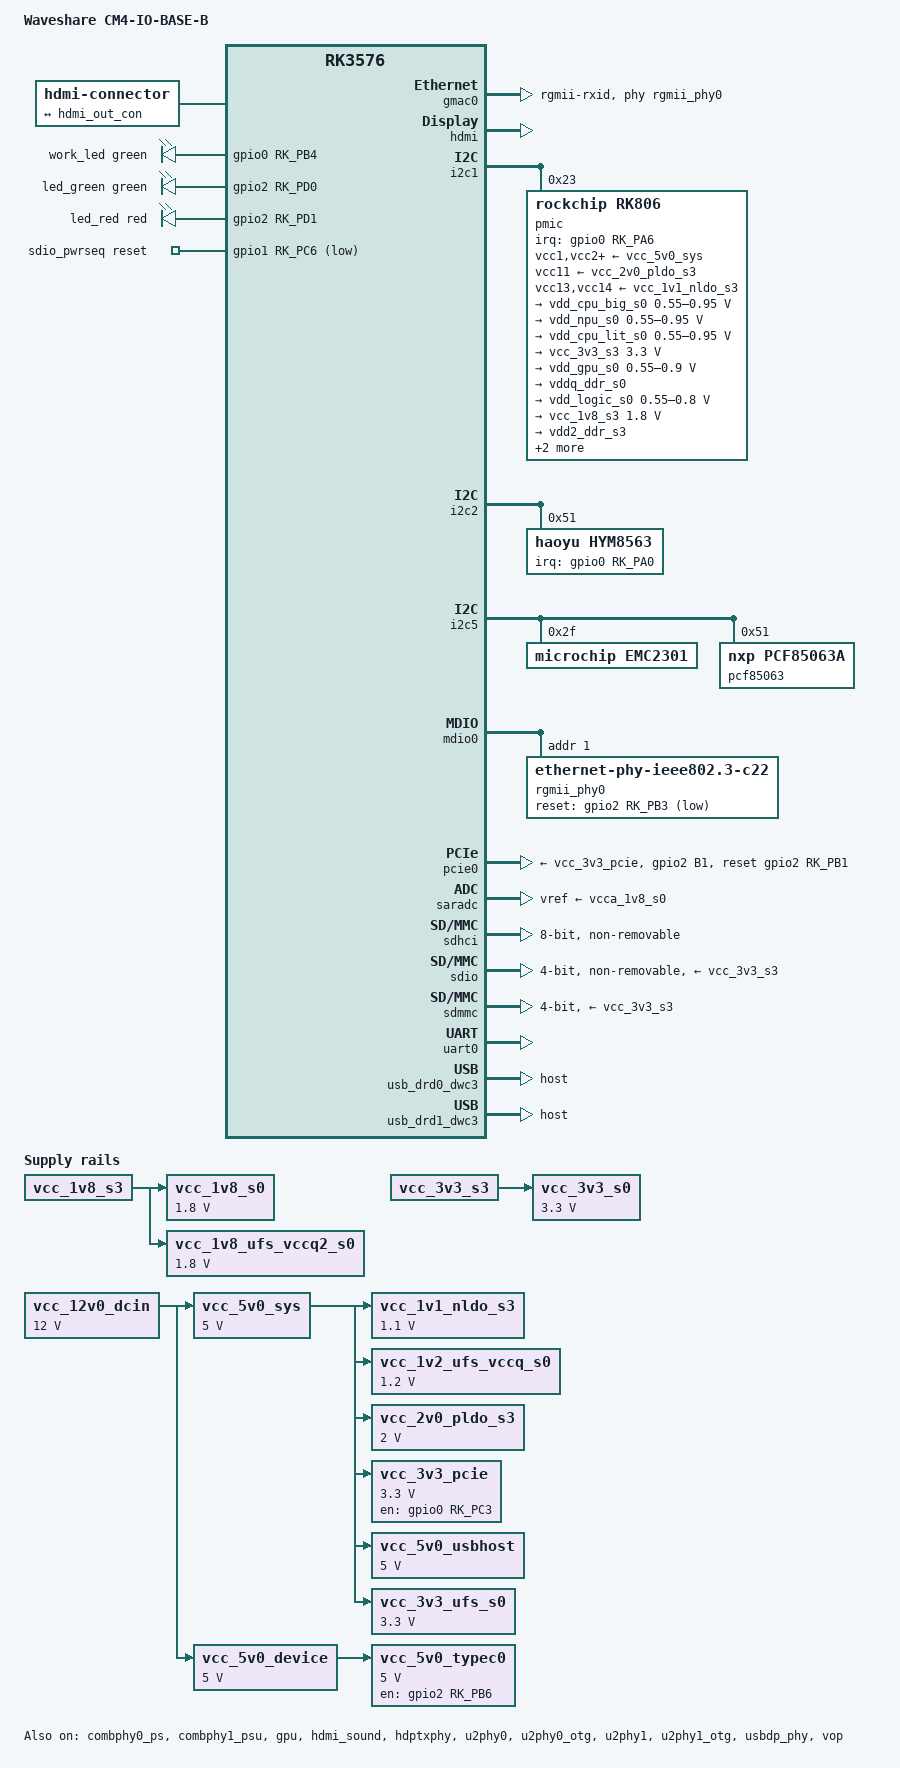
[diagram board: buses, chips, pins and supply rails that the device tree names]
// SPDX-License-Identifier: (GPL-2.0+ OR MIT)
/*
 * ArmSoM CM5-IO board — mainline-style DTS for EDK2/UEFI boot
 *
 * The ArmSoM CM5 is a Raspberry Pi CM4-form-factor compute module built on
 * the Rockchip RK3576 SoC (4×Cortex-A72 + 4×Cortex-A53, same silicon as
 * Radxa ROCK 4D).  This DTS targets the official CM5-IO carrier board.
 *
 * CM5-IO carrier provides:
 *   - Full-size HDMI 2.1 (via HDMI TX)
 *   - Gigabit Ethernet (GMAC0, RTL8211F, rgmii-rxid)
 *   - 2× USB-A (USB 3.0/2.0)
 *   - USB-C (OTG / SuperSpeed via USBDP PHY)
 *   - M.2 PCIe 2.0 ×1 slot
 *   - MicroSD card slot
 *   - 40-pin RPi-compatible GPIO header
 *   - 12 V DC barrel jack
 *
 * CM5 module provides:
 *   - Onboard eMMC (SDHCI)
 *   - SYN43752 (WiFi 6 + BT 5.x) via SDIO / UART4
 *   - RK806 PMIC on I2C1
 *   - HYM8563 RTC on I2C2
 *
 * GPIO verification source:
 *   ArmSoM rockchip-kernel (branch linux-6.1-stan-rkr6.1):
 *     arch/arm64/boot/dts/rockchip/rk3576-armsom-cm5.dtsi
 *     arch/arm64/boot/dts/rockchip/rk3576-armsom-cm5-waveshare-cm4b.dts
 *     arch/arm64/boot/dts/rockchip/rk3576-rk806.dtsi
 *
 * Differences vs upstream rk3576-armsom-sige5.dts (same vendor):
 *   - No GMAC1 (CM5-IO is single-port GbE)
 *   - GMAC0 PHY reset:  GPIO2 PB3  (sige5: GPIO2 PB5)
 *   - GMAC0 mode:       rgmii-rxid, tx_delay=0x21 (sige5: rgmii-id)
 *   - PCIe power GPIO:  GPIO0 PC3  (sige5: GPIO3 PD6)
 *   - PCIe reset GPIO:  GPIO2 PB1  (sige5: GPIO2 PB4)
 *   - USB HOST 5V GPIO: GPIO4 PB0  (sige5: GPIO4 PA4)
 *   - USB OTG  5V GPIO: GPIO2 PB6  (sige5: GPIO4 PA6)
 *   - Work LED:         GPIO0 PB4  (sige5: GPIO4 PB1/PB2)
 *
 * Copyright (c) 2024, ArmSoM
 * Copyright (c) 2025, ArmSoM CM5-IO EDK2 Port
 */

/dts-v1/;

#include <dt-bindings/gpio/gpio.h>
#include <dt-bindings/leds/common.h>
#include <dt-bindings/pinctrl/rockchip.h>
#include <dt-bindings/pwm/pwm.h>
#include <dt-bindings/soc/rockchip,vop2.h>
#include <dt-bindings/usb/pd.h>
#include "rk3576.dtsi"

/ {
	model = "Waveshare CM4-IO-BASE-B";
	compatible = "waveshare,cm4-io-base-b", "armsom,cm5", "rockchip,rk3576";

	aliases {
		ethernet0 = &gmac0;
		mmc0 = &sdhci;
		mmc1 = &sdmmc;
	};

	chosen {
		stdout-path = "serial0:1500000n8";
	};

	/*
	 * HDMI connector: full-size Type A on CM5-IO carrier board.
	 * Connected to HDMI TX (hdmi: hdmi@27da0000) via HDPTX PHY.
	 */
	hdmi-con {
		compatible = "hdmi-connector";
		type = "a";

		port {
			hdmi_con_in: endpoint {
				remote-endpoint = <&hdmi_out_con>;
			};
		};
	};

	/*
	 * LEDs on the CM5-IO carrier board (verified from schematic
	 * ARMSOM-CM5-IO-1V1_20240829.DSN):
	 *
	 *  work-led  (module, GPIO0 PB4):  on CM5 module itself, active-high.
	 *                                   BSP net: no explicit carrier net.
	 *  led-green (carrier, GPIO2 PD0):  net "LED_GREEN_EN / UART4_TX_M0 /
	 *                                   I2C6_SCL_M2" — green status LED
	 *                                   on CM5-IO board.
	 *  led-red   (carrier, GPIO2 PD1):  net "LED_RED_EN / UART4_RX_M0 /
	 *                                   I2C6_SDA_M2" — red status LED
	 *                                   on CM5-IO board.
	 */
	leds: leds {
		compatible = "gpio-leds";

		work_led: work-led {
			color = <LED_COLOR_ID_GREEN>;
			function = LED_FUNCTION_ACTIVITY;
			gpios = <&gpio0 RK_PB4 GPIO_ACTIVE_HIGH>;
			linux,default-trigger = "heartbeat";
		};

		led_green: led-green {
			color = <LED_COLOR_ID_GREEN>;
			function = LED_FUNCTION_STATUS;
			gpios = <&gpio2 RK_PD0 GPIO_ACTIVE_HIGH>;
			pinctrl-names = "default";
			pinctrl-0 = <&led_green_en>;
			default-state = "on";
		};

		led_red: led-red {
			color = <LED_COLOR_ID_RED>;
			function = LED_FUNCTION_FAULT;
			gpios = <&gpio2 RK_PD1 GPIO_ACTIVE_HIGH>;
			pinctrl-names = "default";
			pinctrl-0 = <&led_red_en>;
			default-state = "off";
		};
	};

	/*
	 * Power domain: 12 V DC input from barrel jack on CM5-IO carrier.
	 */
	vcc_12v0_dcin: regulator-vcc-12v0-dcin {
		compatible = "regulator-fixed";
		regulator-name = "vcc_12v0_dcin";
		regulator-always-on;
		regulator-boot-on;
		regulator-min-microvolt = <12000000>;
		regulator-max-microvolt = <12000000>;
	};

	vcc_1v1_nldo_s3: regulator-vcc-1v1-nldo-s3 {
		compatible = "regulator-fixed";
		regulator-name = "vcc_1v1_nldo_s3";
		regulator-boot-on;
		regulator-always-on;
		regulator-min-microvolt = <1100000>;
		regulator-max-microvolt = <1100000>;
		vin-supply = <&vcc_5v0_sys>;
	};

	vcc_1v2_ufs_vccq_s0: regulator-vcc-1v2-ufs-vccq-s0 {
		compatible = "regulator-fixed";
		regulator-name = "vcc_1v2_ufs_vccq_s0";
		regulator-boot-on;
		regulator-always-on;
		regulator-min-microvolt = <1200000>;
		regulator-max-microvolt = <1200000>;
		vin-supply = <&vcc_5v0_sys>;
	};

	vcc_1v8_s0: regulator-vcc-1v8-s0 {
		compatible = "regulator-fixed";
		regulator-name = "vcc_1v8_s0";
		regulator-boot-on;
		regulator-always-on;
		regulator-min-microvolt = <1800000>;
		regulator-max-microvolt = <1800000>;
		vin-supply = <&vcc_1v8_s3>;
	};

	vcc_1v8_ufs_vccq2_s0: regulator-vcc-1v8-ufs-vccq2-s0 {
		compatible = "regulator-fixed";
		regulator-name = "vcc_1v8_ufs_vccq2_s0";
		regulator-boot-on;
		regulator-always-on;
		regulator-min-microvolt = <1800000>;
		regulator-max-microvolt = <1800000>;
		vin-supply = <&vcc_1v8_s3>;
	};

	vcc_2v0_pldo_s3: regulator-vcc-2v0-pldo-s3 {
		compatible = "regulator-fixed";
		regulator-name = "vcc_2v0_pldo_s3";
		regulator-boot-on;
		regulator-always-on;
		regulator-min-microvolt = <2000000>;
		regulator-max-microvolt = <2000000>;
		vin-supply = <&vcc_5v0_sys>;
	};

	/*
	 * PCIe 3.3 V supply: gated by GPIO0 PC3 (active-high).
	 * Supplies the M.2 PCIe slot on the CM5-IO carrier board.
	 * (rk3576-armsom-cm5-io.dts: vcc3v3_pcie_m2 GPIO0 PC3 active-high)
	 */
	vcc_3v3_pcie: regulator-vcc-3v3-pcie {
		compatible = "regulator-fixed";
		pinctrl-names = "default";
		pinctrl-0 = <&pcie_pwr_en>;
		regulator-name = "vcc_3v3_pcie";
		regulator-min-microvolt = <3300000>;
		regulator-max-microvolt = <3300000>;
		enable-active-high;
		gpio = <&gpio0 RK_PC3 GPIO_ACTIVE_HIGH>;
		startup-delay-us = <5000>;
		vin-supply = <&vcc_5v0_sys>;
	};

	vcc_3v3_s0: regulator-vcc-3v3-s0 {
		compatible = "regulator-fixed";
		regulator-name = "vcc_3v3_s0";
		regulator-boot-on;
		regulator-always-on;
		regulator-min-microvolt = <3300000>;
		regulator-max-microvolt = <3300000>;
		vin-supply = <&vcc_3v3_s3>;
	};

	vcc_5v0_sys: regulator-vcc-5v0-sys {
		compatible = "regulator-fixed";
		regulator-name = "vcc_5v0_sys";
		regulator-always-on;
		regulator-boot-on;
		regulator-min-microvolt = <5000000>;
		regulator-max-microvolt = <5000000>;
		vin-supply = <&vcc_12v0_dcin>;
	};

	vcc_5v0_device: regulator-vcc-5v0-device {
		compatible = "regulator-fixed";
		regulator-name = "vcc_5v0_device";
		regulator-always-on;
		regulator-boot-on;
		regulator-min-microvolt = <5000000>;
		regulator-max-microvolt = <5000000>;
		vin-supply = <&vcc_12v0_dcin>;
	};

	/*
	 * USB OTG / Type-C 5 V supply: gated by GPIO2 PB6 (active-high).
	 * (rk3576-armsom-cm5-io.dts: vcc5v0_otg GPIO2 PB6 active-high)
	 */
	vcc_5v0_typec0: regulator-vcc-5v0-typec0 {
		compatible = "regulator-fixed";
		enable-active-high;
		gpios = <&gpio2 RK_PB6 GPIO_ACTIVE_HIGH>;
		pinctrl-names = "default";
		pinctrl-0 = <&usb_otg0_pwren>;
		regulator-name = "vcc_5v0_typec0";
		regulator-min-microvolt = <5000000>;
		regulator-max-microvolt = <5000000>;
		vin-supply = <&vcc_5v0_device>;
	};

	/*
	 * USB HOST 5 V supply: gated by GPIO4 PB0 (active-high).
	 * Powers the USB-A ports on CM4-IO carrier board (always-on).
	 */
	vcc_5v0_usbhost: regulator-vcc-5v0-usbhost {
		compatible = "regulator-fixed";
		regulator-name = "vcc_5v0_usbhost";
		regulator-always-on;
		regulator-boot-on;
		regulator-min-microvolt = <5000000>;
		regulator-max-microvolt = <5000000>;
		vin-supply = <&vcc_5v0_sys>;
	};

	vcc_3v3_ufs_s0: regulator-vcc-ufs-s0 {
		compatible = "regulator-fixed";
		regulator-name = "vcc_3v3_ufs_s0";
		regulator-boot-on;
		regulator-always-on;
		regulator-min-microvolt = <3300000>;
		regulator-max-microvolt = <3300000>;
		vin-supply = <&vcc_5v0_sys>;
	};

	/*
	 * WiFi power sequencer for SYN43752 (on CM5 module).
	 * Reset GPIO: GPIO1 PC6 active-low.
	 * (rk3576-armsom-cm5.dtsi: mmc-pwrseq reset-gpios GPIO1 PC6 AL)
	 * Clock from HYM8563 external RTC oscillator.
	 */
	sdio_pwrseq: sdio-pwrseq {
		compatible = "mmc-pwrseq-simple";
		clocks = <&hym8563>;
		clock-names = "ext_clock";
		pinctrl-names = "default";
		pinctrl-0 = <&wifi_reg_on>;
		reset-gpios = <&gpio1 RK_PC6 GPIO_ACTIVE_LOW>;
	};
};

/*
 * ComboPHY0 → PCIe lane (M.2 slot on CM5-IO).
 * ComboPHY1 → USB3 lane (USB-A on CM5-IO via usb_drd1_dwc3).
 */
&combphy0_ps {
	status = "okay";
};

&combphy1_psu {
	status = "okay";
};

&cpu_b0 {
	cpu-supply = <&vdd_cpu_big_s0>;
};

&cpu_b1 {
	cpu-supply = <&vdd_cpu_big_s0>;
};

&cpu_b2 {
	cpu-supply = <&vdd_cpu_big_s0>;
};

&cpu_b3 {
	cpu-supply = <&vdd_cpu_big_s0>;
};

&cpu_l0 {
	cpu-supply = <&vdd_cpu_lit_s0>;
};

&cpu_l1 {
	cpu-supply = <&vdd_cpu_lit_s0>;
};

&cpu_l2 {
	cpu-supply = <&vdd_cpu_lit_s0>;
};

&cpu_l3 {
	cpu-supply = <&vdd_cpu_lit_s0>;
};

/*
 * GMAC0: RTL8211F GbE in rgmii-rxid mode.
 * PHY delay: MAC side TX delay = 0x21 (board trace compensation),
 *             PHY handles RX delay internally.
 * PHY reset: GPIO2 PB3 active-low.
 *
 * Differences from sige5: rxid mode (not id), GPIO2 PB3 reset (not PB5).
 */
&gmac0 {
	phy-mode = "rgmii-rxid";
	clock_in_out = "output";
	tx_delay = <0x21>;
	rx_delay = <0x00>;
	phy-handle = <&rgmii_phy0>;
	pinctrl-names = "default";
	pinctrl-0 = <&eth0m0_miim
		     &eth0m0_tx_bus2
		     &eth0m0_rx_bus2
		     &eth0m0_rgmii_clk
		     &eth0m0_rgmii_bus>;
	status = "okay";
};

&gpu {
	mali-supply = <&vdd_gpu_s0>;
	status = "okay";
};

&hdmi {
	status = "okay";
};

&hdmi_in {
	hdmi_in_vp0: endpoint {
		remote-endpoint = <&vp0_out_hdmi>;
	};
};

&hdmi_out {
	hdmi_out_con: endpoint {
		remote-endpoint = <&hdmi_con_in>;
	};
};

&hdmi_sound {
	status = "okay";
};

&hdptxphy {
	status = "okay";
};

/*
 * I2C1: RK806 PMIC @ 0x23 (interrupt on GPIO0 PA6).
 * Pinctrl: i2c1m0 — GPIO0 PB2 (SCL) / GPIO0 PB3 (SDA), function 11.
 */
&i2c1 {
	status = "okay";

	pmic@23 {
		compatible = "rockchip,rk806";
		reg = <0x23>;

		interrupt-parent = <&gpio0>;
		interrupts = <RK_PA6 IRQ_TYPE_LEVEL_LOW>;

		pinctrl-names = "default";
		pinctrl-0 = <&pmic_pins>, <&rk806_dvs1_null>,
			    <&rk806_dvs2_null>, <&rk806_dvs3_null>;

		system-power-controller;

		vcc1-supply = <&vcc_5v0_sys>;
		vcc2-supply = <&vcc_5v0_sys>;
		vcc3-supply = <&vcc_5v0_sys>;
		vcc4-supply = <&vcc_5v0_sys>;
		vcc5-supply = <&vcc_5v0_sys>;
		vcc6-supply = <&vcc_5v0_sys>;
		vcc7-supply = <&vcc_5v0_sys>;
		vcc8-supply = <&vcc_5v0_sys>;
		vcc9-supply = <&vcc_5v0_sys>;
		vcc10-supply = <&vcc_5v0_sys>;
		vcc11-supply = <&vcc_2v0_pldo_s3>;
		vcc12-supply = <&vcc_5v0_sys>;
		vcc13-supply = <&vcc_1v1_nldo_s3>;
		vcc14-supply = <&vcc_1v1_nldo_s3>;
		vcca-supply = <&vcc_5v0_sys>;

		gpio-controller;
		#gpio-cells = <2>;

		rk806_dvs1_null: dvs1-null-pins {
			pins = "gpio_pwrctrl1";
			function = "pin_fun0";
		};

		rk806_dvs2_null: dvs2-null-pins {
			pins = "gpio_pwrctrl2";
			function = "pin_fun0";
		};

		rk806_dvs3_null: dvs3-null-pins {
			pins = "gpio_pwrctrl3";
			function = "pin_fun0";
		};

		regulators {
			vdd_cpu_big_s0: dcdc-reg1 {
				regulator-always-on;
				regulator-boot-on;
				regulator-min-microvolt = <550000>;
				regulator-max-microvolt = <950000>;
				regulator-ramp-delay = <12500>;
				regulator-name = "vdd_cpu_big_s0";
				regulator-enable-ramp-delay = <400>;
				regulator-state-mem {
					regulator-off-in-suspend;
				};
			};

			vdd_npu_s0: dcdc-reg2 {
				regulator-boot-on;
				regulator-min-microvolt = <550000>;
				regulator-max-microvolt = <950000>;
				regulator-ramp-delay = <12500>;
				regulator-name = "vdd_npu_s0";
				regulator-enable-ramp-delay = <400>;
				regulator-state-mem {
					regulator-off-in-suspend;
				};
			};

			vdd_cpu_lit_s0: dcdc-reg3 {
				regulator-always-on;
				regulator-boot-on;
				regulator-min-microvolt = <550000>;
				regulator-max-microvolt = <950000>;
				regulator-ramp-delay = <12500>;
				regulator-name = "vdd_cpu_lit_s0";
				regulator-state-mem {
					regulator-off-in-suspend;
					regulator-suspend-microvolt = <750000>;
				};
			};

			vcc_3v3_s3: dcdc-reg4 {
				regulator-always-on;
				regulator-boot-on;
				regulator-min-microvolt = <3300000>;
				regulator-max-microvolt = <3300000>;
				regulator-name = "vcc_3v3_s3";
				regulator-state-mem {
					regulator-on-in-suspend;
					regulator-suspend-microvolt = <3300000>;
				};
			};

			vdd_gpu_s0: dcdc-reg5 {
				regulator-boot-on;
				regulator-min-microvolt = <550000>;
				regulator-max-microvolt = <900000>;
				regulator-ramp-delay = <12500>;
				regulator-name = "vdd_gpu_s0";
				regulator-enable-ramp-delay = <400>;
				regulator-state-mem {
					regulator-off-in-suspend;
					regulator-suspend-microvolt = <850000>;
				};
			};

			vddq_ddr_s0: dcdc-reg6 {
				regulator-always-on;
				regulator-boot-on;
				regulator-name = "vddq_ddr_s0";
				regulator-state-mem {
					regulator-off-in-suspend;
				};
			};

			vdd_logic_s0: dcdc-reg7 {
				regulator-always-on;
				regulator-boot-on;
				regulator-min-microvolt = <550000>;
				regulator-max-microvolt = <800000>;
				regulator-name = "vdd_logic_s0";
				regulator-state-mem {
					regulator-off-in-suspend;
				};
			};

			vcc_1v8_s3: dcdc-reg8 {
				regulator-always-on;
				regulator-boot-on;
				regulator-min-microvolt = <1800000>;
				regulator-max-microvolt = <1800000>;
				regulator-name = "vcc_1v8_s3";
				regulator-state-mem {
					regulator-on-in-suspend;
					regulator-suspend-microvolt = <1800000>;
				};
			};

			vdd2_ddr_s3: dcdc-reg9 {
				regulator-always-on;
				regulator-boot-on;
				regulator-name = "vdd2_ddr_s3";
				regulator-state-mem {
					regulator-on-in-suspend;
				};
			};

			vdd_ddr_s0: dcdc-reg10 {
				regulator-always-on;
				regulator-boot-on;
				regulator-min-microvolt = <550000>;
				regulator-max-microvolt = <1200000>;
				regulator-name = "vdd_ddr_s0";
				regulator-state-mem {
					regulator-off-in-suspend;
				};
			};

			vcca_1v8_s0: pldo-reg1 {
				regulator-always-on;
				regulator-boot-on;
				regulator-min-microvolt = <1800000>;
				regulator-max-microvolt = <1800000>;
				regulator-name = "vcca_1v8_s0";
				regulator-state-mem {
					regulator-off-in-suspend;
				};
			};

			vcca1v8_pldo2_s0: pldo-reg2 {
				regulator-always-on;
				regulator-boot-on;
				regulator-min-microvolt = <1800000>;
				regulator-max-microvolt = <1800000>;
				regulator-name = "vcca1v8_pldo2_s0";
				regulator-state-mem {
					regulator-off-in-suspend;
				};
			};

			vdda_1v2_s0: pldo-reg3 {
				regulator-always-on;
				regulator-boot-on;
				regulator-min-microvolt = <1200000>;
				regulator-max-microvolt = <1200000>;
				regulator-name = "vdda_1v2_s0";
				regulator-state-mem {
					regulator-off-in-suspend;
				};
			};

			vcca_3v3_s0: pldo-reg4 {
				regulator-always-on;
				regulator-boot-on;
				regulator-min-microvolt = <3300000>;
				regulator-max-microvolt = <3300000>;
				regulator-name = "vcca_3v3_s0";
				regulator-state-mem {
					regulator-off-in-suspend;
				};
			};

			vccio_sd_s0: pldo-reg5 {
				regulator-always-on;
				regulator-boot-on;
				regulator-min-microvolt = <1800000>;
				regulator-max-microvolt = <3300000>;
				regulator-name = "vccio_sd_s0";
				regulator-state-mem {
					regulator-off-in-suspend;
				};
			};

			vcca1v8_pldo6_s3: pldo-reg6 {
				regulator-always-on;
				regulator-boot-on;
				regulator-min-microvolt = <1800000>;
				regulator-max-microvolt = <1800000>;
				regulator-name = "vcca1v8_pldo6_s3";
				regulator-state-mem {
					regulator-on-in-suspend;
					regulator-suspend-microvolt = <1800000>;
				};
			};

			vdd_0v75_s3: nldo-reg1 {
				regulator-always-on;
				regulator-boot-on;
				regulator-min-microvolt = <750000>;
				regulator-max-microvolt = <750000>;
				regulator-name = "vdd_0v75_s3";
				regulator-state-mem {
					regulator-on-in-suspend;
					regulator-suspend-microvolt = <750000>;
				};
			};

			vdda_ddr_pll_s0: nldo-reg2 {
				regulator-always-on;
				regulator-boot-on;
				regulator-min-microvolt = <850000>;
				regulator-max-microvolt = <850000>;
				regulator-name = "vdda_ddr_pll_s0";
				regulator-state-mem {
					regulator-off-in-suspend;
				};
			};

			vdda0v75_hdmi_s0: nldo-reg3 {
				regulator-always-on;
				regulator-boot-on;
				regulator-min-microvolt = <837500>;
				regulator-max-microvolt = <837500>;
				regulator-name = "vdda0v75_hdmi_s0";
				regulator-state-mem {
					regulator-off-in-suspend;
				};
			};

			vdda_0v85_s0: nldo-reg4 {
				regulator-always-on;
				regulator-boot-on;
				regulator-min-microvolt = <850000>;
				regulator-max-microvolt = <850000>;
				regulator-name = "vdda_0v85_s0";
				regulator-state-mem {
					regulator-off-in-suspend;
				};
			};

			vdda_0v75_s0: nldo-reg5 {
				regulator-always-on;
				regulator-boot-on;
				regulator-min-microvolt = <750000>;
				regulator-max-microvolt = <750000>;
				regulator-name = "vdda_0v75_s0";
				regulator-state-mem {
					regulator-off-in-suspend;
				};
			};
		};
	};
};

/*
 * I2C2: HYM8563 RTC @ 0x51 (interrupt on GPIO0 PA0).
 * Pinctrl: i2c2m0 — GPIO0 PB7 (SCL) / GPIO0 PC0 (SDA), function 9.
 */
&i2c2 {
	status = "okay";

	hym8563: rtc@51 {
		compatible = "haoyu,hym8563";
		reg = <0x51>;
		clock-output-names = "hym8563";
		interrupt-parent = <&gpio0>;
		interrupts = <RK_PA0 IRQ_TYPE_LEVEL_LOW>;
		pinctrl-names = "default";
		pinctrl-0 = <&hym8563_int>;
		wakeup-source;
		#clock-cells = <0>;
	};
};

/*
 * I2C5 (mux mode 3): Fan controller (EMC2301) + carrier RTC (PCF85063)
 * on the Waveshare CM4-IO-BASE-B carrier board connector pins.
 */
&i2c5 {
	status = "okay";
	pinctrl-names = "default";
	pinctrl-0 = <&i2c5m3_xfer>;

	emc2301: fan@2f {
		compatible = "microchip,emc2301";
		reg = <0x2f>;
		#address-cells = <1>;
		#size-cells = <0>;

		fan@0 {
			reg = <0>;
			pulses-per-revolution = <2>;
		};
	};

	pcf85063: rtc@51 {
		compatible = "nxp,pcf85063a";
		reg = <0x51>;
		quartz-load-femtofarads = <7000>;
	};
};

&mdio0 {
	rgmii_phy0: phy@1 {
		compatible = "ethernet-phy-ieee802.3-c22";
		reg = <0x1>;
		pinctrl-names = "default";
		pinctrl-0 = <&gmac0_rst>;
		reset-assert-us = <20000>;
		reset-deassert-us = <100000>;
		/* GPIO2 PB3 active-low — differs from sige5 (PB5) */
		reset-gpios = <&gpio2 RK_PB3 GPIO_ACTIVE_LOW>;
	};
};

/*
 * PCIe 2.0 ×1 for M.2 slot (combphy0_ps as PCIe lane).
 * Reset:  GPIO2 PB1 (active-high) — differs from sige5 (PB4).
 * Power:  vcc_3v3_pcie (gated by GPIO0 PC3).
 */
&pcie0 {
	pinctrl-names = "default";
	pinctrl-0 = <&pcie_reset>;
	reset-gpios = <&gpio2 RK_PB1 GPIO_ACTIVE_HIGH>;
	vpcie3v3-supply = <&vcc_3v3_pcie>;
	status = "okay";
};

&pinctrl {
	gmac {
		/* GPIO2 PB3 — PHY reset (CM5-IO, active-low) */
		gmac0_rst: gmac0-rst {
			rockchip,pins = <2 RK_PB3 RK_FUNC_GPIO &pcfg_pull_none>;
		};
	};

	hym8563 {
		hym8563_int: hym8563-int {
			rockchip,pins = <0 RK_PA0 RK_FUNC_GPIO &pcfg_pull_up>;
		};
	};

	leds {
		work_led_en: work-led-en {
			rockchip,pins = <0 RK_PB4 RK_FUNC_GPIO &pcfg_pull_none>;
		};

		/* GPIO2 PD0 — green carrier LED (LED_GREEN_EN / UART4_TX_M0 / I2C6_SCL_M2) */
		led_green_en: led-green-en {
			rockchip,pins = <2 RK_PD0 RK_FUNC_GPIO &pcfg_pull_none>;
		};

		/* GPIO2 PD1 — red carrier LED (LED_RED_EN / UART4_RX_M0 / I2C6_SDA_M2) */
		led_red_en: led-red-en {
			rockchip,pins = <2 RK_PD1 RK_FUNC_GPIO &pcfg_pull_none>;
		};
	};

	pcie {
		/* GPIO0 PC3 — PCIe power enable */
		pcie_pwr_en: pcie-pwr-en {
			rockchip,pins = <0 RK_PC3 RK_FUNC_GPIO &pcfg_pull_down>;
		};
		/* GPIO2 PB1 — PCIe PERST# */
		pcie_reset: pcie-reset {
			rockchip,pins = <2 RK_PB1 RK_FUNC_GPIO &pcfg_pull_up>;
		};
	};

	usb {
		/* GPIO4 PB0 — USB HOST 5V enable */
		usb_host_pwren: usb-host-pwren {
			rockchip,pins = <4 RK_PB0 RK_FUNC_GPIO &pcfg_pull_none>;
		};
		/* GPIO2 PB6 — USB OTG / Type-C 5V enable */
		usb_otg0_pwren: usb-otg0-pwren {
			rockchip,pins = <2 RK_PB6 RK_FUNC_GPIO &pcfg_pull_none>;
		};
	};

	wireless-bluetooth {
		/* GPIO1 PC7 — BT reset / enable (active-high) */
		bt_reg_on: bt-reg-on {
			rockchip,pins = <1 RK_PC7 RK_FUNC_GPIO &pcfg_pull_up>;
		};

		/* GPIO0 PB0 — BT wake host (input) */
		bt_wake_host: bt-wake-host {
			rockchip,pins = <0 RK_PB0 RK_FUNC_GPIO &pcfg_pull_down>;
		};
	};

	wireless-wlan {
		/* GPIO0 PB0 — WiFi wake host (input, shared with BT wake) */
		wifi_wake_host: wifi-wake-host {
			rockchip,pins = <0 RK_PB0 RK_FUNC_GPIO &pcfg_pull_down>;
		};

		/* GPIO1 PC6 — WiFi reset (active-low, part of sdio_pwrseq) */
		wifi_reg_on: wifi-reg-on {
			rockchip,pins = <1 RK_PC6 RK_FUNC_GPIO &pcfg_pull_none>;
		};
	};
};

&saradc {
	vref-supply = <&vcca_1v8_s0>;
	status = "okay";
};

/*
 * eMMC: onboard on CM5 module (SDHCI @ 0x2A330000).
 * HS400 at 200 MHz with enhanced strobe.
 */
&sdhci {
	bus-width = <8>;
	full-pwr-cycle-in-suspend;
	max-frequency = <200000000>;
	mmc-hs400-1_8v;
	mmc-hs400-enhanced-strobe;
	no-sdio;
	no-sd;
	non-removable;
	status = "okay";
};

/*
 * SDIO: SYN43752 WiFi (sdio/sdmmc1 on CM5 module).
 * Power sequenced by sdio_pwrseq (GPIO1 PC6 active-low reset).
 * Clock provided by HYM8563.
 */
&sdio {
	bus-width = <4>;
	cap-sdio-irq;
	disable-wp;
	keep-power-in-suspend;
	mmc-pwrseq = <&sdio_pwrseq>;
	no-sd;
	no-mmc;
	non-removable;
	sd-uhs-sdr50;
	sd-uhs-sdr104;
	vmmc-supply = <&vcc_3v3_s3>;
	vqmmc-supply = <&vcc_1v8_s3>;
	wakeup-source;
	status = "okay";
};

/*
 * SDMMC: MicroSD card slot on CM5-IO carrier board.
 */
&sdmmc {
	bus-width = <4>;
	cap-mmc-highspeed;
	cap-sd-highspeed;
	disable-wp;
	max-frequency = <200000000>;
	no-sdio;
	no-mmc;
	sd-uhs-sdr104;
	vmmc-supply = <&vcc_3v3_s3>;
	vqmmc-supply = <&vccio_sd_s0>;
	status = "okay";
};

&u2phy0 {
	status = "okay";
};

&u2phy0_otg {
	phy-supply = <&vcc_5v0_typec0>;
	status = "okay";
};

&u2phy1 {
	status = "okay";
};

&u2phy1_otg {
	phy-supply = <&vcc_5v0_usbhost>;
	status = "okay";
};

&uart0 {
	pinctrl-0 = <&uart0m0_xfer>;
	status = "okay";
};

/*
 * UART4: Bluetooth (SYN43752) on CM5 module.
 * Pinctrl group uart4m1 used on CM5.
 */
&uart4 {
	pinctrl-0 = <&uart4m1_xfer &uart4m1_ctsn &uart4m1_rtsn>;
	pinctrl-names = "default";
	uart-has-rtscts;
};

/*
 * USB DRD0: USB-C port (USBDP PHY SuperSpeed + USB2 PHY HS).
 * Configured as host for UEFI; USB-C PD (FUSB302) may switch role in OS.
 */
&usb_drd0_dwc3 {
	dr_mode = "host";
	status = "okay";
};

/*
 * USB DRD1: USB-A port (combphy1_psu SuperSpeed + USB2 PHY HS).
 */
&usb_drd1_dwc3 {
	dr_mode = "host";
	status = "okay";
};

&usbdp_phy {
	status = "okay";
};

&vop {
	status = "okay";
};

&vop_mmu {
	status = "okay";
};

&vp0 {
	vp0_out_hdmi: endpoint@ROCKCHIP_VOP2_EP_HDMI0 {
		reg = <ROCKCHIP_VOP2_EP_HDMI0>;
		remote-endpoint = <&hdmi_in_vp0>;
	};
};
